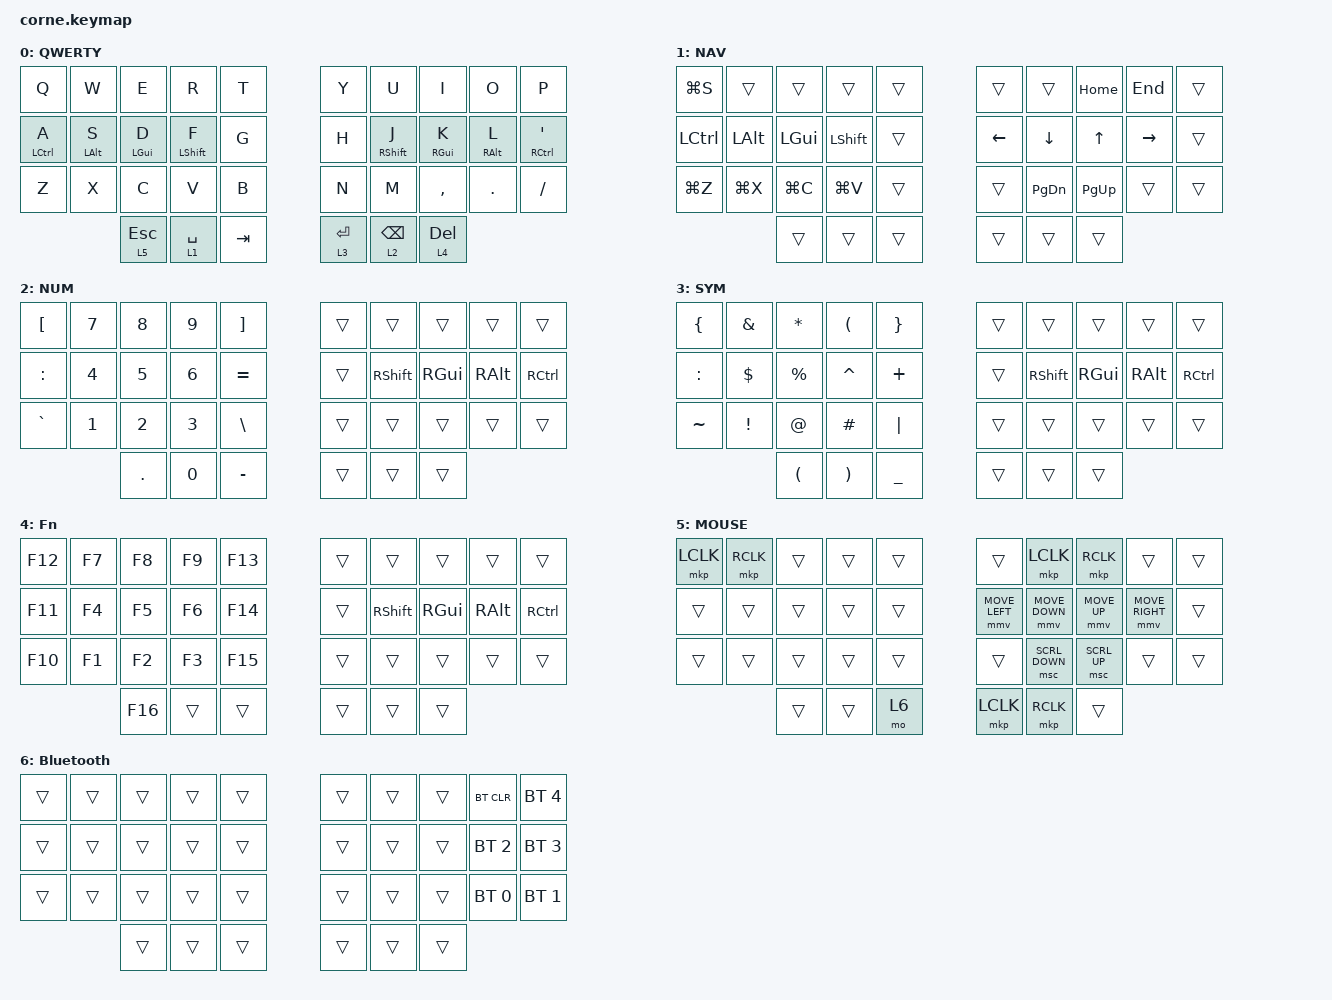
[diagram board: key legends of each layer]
#define ZMK_POINTING_DEFAULT_MOVE_VAL 1500  // default: 600
#define ZMK_POINTING_DEFAULT_SCRL_VAL 20    // default: 10

#include <behaviors.dtsi>
#include <dt-bindings/zmk/keys.h>
#include <dt-bindings/zmk/bt.h>
#include <dt-bindings/zmk/pointing.h>

/ {
    chosen {zmk,physical-layout = &foostan_corne_5col_layout;};

    behaviors {
        hm: homerow_mods {
            compatible = "zmk,behavior-hold-tap";
            label = "HOMEROW_MODS";
            #binding-cells = <2>;
            tapping-term-ms = <200>;
            quick_tap_ms = <0>;
            flavor = "tap-preferred";
            bindings = <&kp>, <&kp>;

            quick-tap-ms = <180>;
            global-quick-tap;
        };

        quo_td: quotes_tabdance {
            compatible = "zmk,behavior-tap-dance";
            #binding-cells = <0>;
            tapping-term-ms = <200>;
            bindings = <&kp SQT>, <&kp GRAVE>;
        };

        esc_cl: esc_cl_tabdance {
            compatible = "zmk,behavior-tap-dance";
            #binding-cells = <0>;
            tapping-term-ms = <200>;
            bindings = <&kp ESC>, <&kp CAPS>;
        };
    };

    combos {
        compatible = "zmk,combos";

        semicolon {
            bindings = <&kp SEMI>;
            key-positions = <27 28>;
            timeout-ms = <50>;
            layers = <0>;
        };

        input_source {
            bindings = <&kp F16>;
            key-positions = <30 35>;
            timeout-ms = <100>;
            layers = <0 4 5>;
        };

        input_source_2 {
            bindings = <&kp F16>;
            key-positions = <10 32>;
            timeout-ms = <100>;
            layers = <0 4 5>;
        };
    };

    //

    macros {
    //    input_source: input_source {
    //        compatible = "zmk,behavior-macro";
    //        #binding-cells = <0>;
    //        bindings = <&tog 1 &kp LC(SPACE)>;
    //        label = "INPUT_SOURCE";
    //    };
    };

    keymap {
        compatible = "zmk,keymap";


        QWERTY {
            bindings = <
                &kp Q        &kp W       &kp E           &kp R             &kp T      &kp Y        &kp U             &kp I           &kp O       &kp P
                &hm LCTRL A  &hm LALT S  &hm LEFT_GUI D  &hm LEFT_SHIFT F  &kp G      &kp H        &hm RIGHT_SHIFT J  &hm RIGHT_GUI K  &hm RALT L  &hm RCTRL SQT
                &kp Z        &kp X       &kp C           &kp V             &kp B      &kp N        &kp M             &kp COMMA       &kp DOT     &kp FSLH
                                         &lt 5 ESC       &lt 1 SPACE       &kp TAB    &lt 3 ENTER  &lt 2 BACKSPACE   &lt 4 DEL
            >;
        };

        NAV {
            bindings = <
                &kp LG(S)  &trans     &trans         &trans     &trans    &trans    &trans          &kp HOME       &kp END        &trans
                &kp LCTRL  &kp LALT   &kp LGUI       &kp LSHFT  &trans    &kp LEFT  &kp DOWN        &kp UP         &kp RIGHT      &trans
                &kp LG(Z)  &kp LG(X)  &kp LG(C)      &kp LG(V)  &trans    &trans    &kp PAGE_DOWN   &kp PAGE_UP    &trans         &trans
                                      &trans         &trans     &trans    &trans    &trans    &trans
            >;
        };

        NUM {
            bindings = <
                &kp LBKT   &kp N7  &kp N8   &kp N9  &kp RBKT     &trans  &trans             &trans          &trans      &trans
                &kp COLON  &kp N4  &kp N5   &kp N6  &kp EQUAL    &trans  &kp RIGHT_SHIFT    &kp RIGHT_GUI   &kp RALT    &kp RCTRL
                &kp GRAVE  &kp N1  &kp N2   &kp N3  &kp BSLH     &trans  &trans             &trans          &trans      &trans
                                   &kp DOT  &kp N0  &kp MINUS    &trans  &trans  &trans
            >;
        };

        SYM {
            bindings = <
                &kp LBRC   &kp AMPS  &kp STAR   &kp LPAR   &kp RBRC     &trans  &trans             &trans          &trans      &trans
                &kp COLON  &kp DLLR  &kp PRCNT  &kp CARET  &kp PLUS     &trans  &kp RIGHT_SHIFT    &kp RIGHT_GUI   &kp RALT    &kp RCTRL
                &kp TILDE  &kp EXCL  &kp AT     &kp POUND  &kp PIPE     &trans  &trans             &trans          &trans      &trans
                                    &kp LPAR   &kp RPAR   &kp UNDER     &trans  &trans             &trans
            >;
        };

        Fn {
            bindings = <
                &kp F12  &kp F7  &kp F8  &kp F9  &kp F13    &trans  &trans  &trans  &trans  &trans
                &kp F11  &kp F4  &kp F5  &kp F6  &kp F14    &trans  &kp RIGHT_SHIFT    &kp RIGHT_GUI   &kp RALT    &kp RCTRL
                &kp F10  &kp F1  &kp F2  &kp F3  &kp F15   &trans  &trans  &trans  &trans  &trans
                                 &kp F16  &trans  &trans    &trans  &trans  &trans
            >;
        };

        MOUSE {
            bindings = <
                &mkp LCLK  &mkp RCLK  &trans  &trans  &trans    &trans            &mkp LCLK       &mkp RCLK       &trans         &trans
                &trans  &trans  &trans  &trans  &trans    &mmv MOVE_LEFT    &mmv MOVE_DOWN  &mmv MOVE_UP    &mmv MOVE_RIGHT     &trans
                &trans  &trans  &trans  &trans  &trans    &trans            &msc SCRL_DOWN  &msc SCRL_UP    &trans              &trans
                                &trans  &trans  &mo 6     &mkp LCLK         &mkp RCLK         &trans
            >;
        };

        Bluetooth {
            bindings = <
                &trans &trans &trans &trans  &trans    &trans  &trans  &trans  &bt BT_CLR    &bt BT_SEL 4
                &trans &trans &trans &trans  &trans    &trans  &trans  &trans  &bt BT_SEL 2  &bt BT_SEL 3
                &trans &trans &trans &trans  &trans    &trans  &trans  &trans  &bt BT_SEL 0  &bt BT_SEL 1
                              &trans  &trans  &trans    &trans  &trans  &trans
            >;
        };
    };

    conditional_layers { compatible = "zmk,conditional-layers"; };
};
